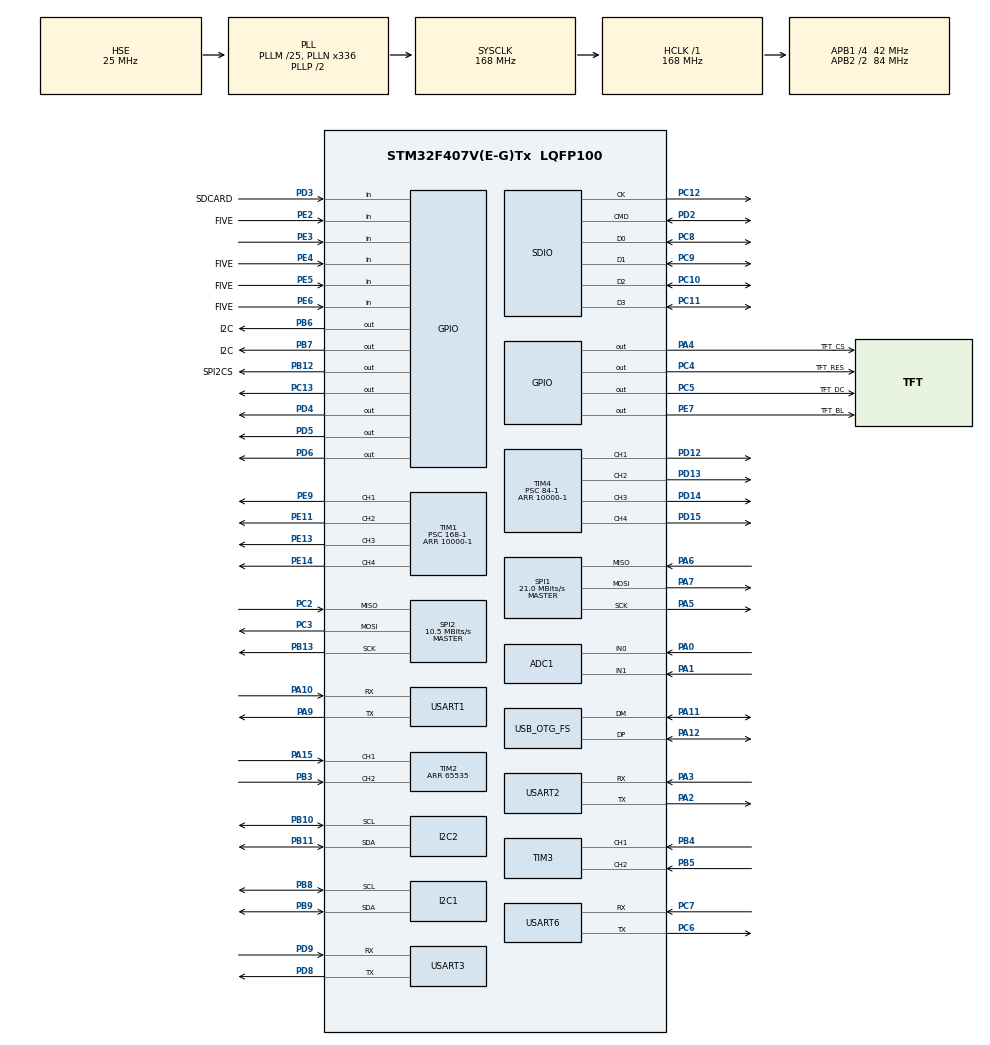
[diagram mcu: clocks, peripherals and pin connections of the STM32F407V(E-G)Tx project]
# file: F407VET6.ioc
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ADC1.Channel-0\#ChannelRegularConversion=ADC_CHANNEL_0
ADC1.NbrOfConversionFlag=1
ADC1.Rank-0\#ChannelRegularConversion=1
ADC1.SamplingTime-0\#ChannelRegularConversion=ADC_SAMPLETIME_3CYCLES
ADC1.master=1
Dma.I2C1_RX.2.Direction=DMA_PERIPH_TO_MEMORY
Dma.I2C1_RX.2.FIFOMode=DMA_FIFOMODE_DISABLE
Dma.I2C1_RX.2.Instance=DMA1_Stream0
Dma.I2C1_RX.2.MemDataAlignment=DMA_MDATAALIGN_BYTE
Dma.I2C1_RX.2.MemInc=DMA_MINC_ENABLE
Dma.I2C1_RX.2.Mode=DMA_NORMAL
Dma.I2C1_RX.2.PeriphDataAlignment=DMA_PDATAALIGN_BYTE
Dma.I2C1_RX.2.PeriphInc=DMA_PINC_DISABLE
Dma.I2C1_RX.2.Priority=DMA_PRIORITY_LOW
Dma.I2C1_TX.3.Direction=DMA_MEMORY_TO_PERIPH
Dma.I2C1_TX.3.FIFOMode=DMA_FIFOMODE_DISABLE
Dma.I2C1_TX.3.Instance=DMA1_Stream7
Dma.I2C1_TX.3.MemDataAlignment=DMA_MDATAALIGN_BYTE
Dma.I2C1_TX.3.MemInc=DMA_MINC_ENABLE
Dma.I2C1_TX.3.Mode=DMA_NORMAL
Dma.I2C1_TX.3.PeriphDataAlignment=DMA_PDATAALIGN_BYTE
Dma.I2C1_TX.3.PeriphInc=DMA_PINC_DISABLE
Dma.I2C1_TX.3.Priority=DMA_PRIORITY_LOW
Dma.Request0=USART2_RX
Dma.Request1=USART2_TX
Dma.Request2=I2C1_RX
Dma.Request3=I2C1_TX
Dma.USART2_RX.0.Direction=DMA_PERIPH_TO_MEMORY
Dma.USART2_RX.0.FIFOMode=DMA_FIFOMODE_DISABLE
Dma.USART2_RX.0.Instance=DMA1_Stream5
Dma.USART2_RX.0.MemDataAlignment=DMA_MDATAALIGN_BYTE
Dma.USART2_RX.0.MemInc=DMA_MINC_ENABLE
Dma.USART2_RX.0.Mode=DMA_NORMAL
Dma.USART2_RX.0.PeriphDataAlignment=DMA_PDATAALIGN_BYTE
Dma.USART2_RX.0.PeriphInc=DMA_PINC_DISABLE
Dma.USART2_RX.0.Priority=DMA_PRIORITY_LOW
Dma.USART2_TX.1.Direction=DMA_MEMORY_TO_PERIPH
Dma.USART2_TX.1.FIFOMode=DMA_FIFOMODE_DISABLE
Dma.USART2_TX.1.Instance=DMA1_Stream6
Dma.USART2_TX.1.MemDataAlignment=DMA_MDATAALIGN_BYTE
Dma.USART2_TX.1.MemInc=DMA_MINC_ENABLE
Dma.USART2_TX.1.Mode=DMA_NORMAL
Dma.USART2_TX.1.PeriphDataAlignment=DMA_PDATAALIGN_BYTE
Dma.USART2_TX.1.PeriphInc=DMA_PINC_DISABLE
Dma.USART2_TX.1.Priority=DMA_PRIORITY_LOW
Mcu.Family=STM32F4
Mcu.Name=STM32F407V(E-G)Tx
Mcu.Package=LQFP100
NVIC.DMA1_Stream0_IRQn=true\:0\:0\:false\:false\:true\:false\:true\:true
NVIC.DMA1_Stream5_IRQn=true\:0\:0\:false\:false\:true\:false\:true\:true
NVIC.DMA1_Stream6_IRQn=true\:0\:0\:false\:false\:true\:false\:true\:true
NVIC.DMA1_Stream7_IRQn=true\:0\:0\:false\:false\:true\:false\:true\:true
NVIC.PriorityGroup=NVIC_PRIORITYGROUP_4
NVIC.USART1_IRQn=true\:0\:0\:false\:false\:true\:true\:true\:true
NVIC.USART2_IRQn=true\:0\:0\:false\:false\:true\:true\:true\:true
NVIC.USART3_IRQn=true\:0\:0\:false\:false\:true\:true\:true\:true
NVIC.USART6_IRQn=true\:0\:0\:false\:false\:true\:true\:true\:true
PA0-WKUP.Signal=ADCx_IN0
PA1.Signal=ADCx_IN1
PA10.Mode=Asynchronous
PA10.Signal=USART1_RX
PA11.Mode=Host_Only
PA11.Signal=USB_OTG_FS_DM
PA12.Mode=Host_Only
PA12.Signal=USB_OTG_FS_DP
PA13.Mode=Serial_Wire
PA13.Signal=SYS_JTMS-SWDIO
PA14.Mode=Serial_Wire
PA14.Signal=SYS_JTCK-SWCLK
PA15.Signal=S_TIM2_CH1_ETR
PA2.Mode=Asynchronous
PA2.Signal=USART2_TX
PA3.Mode=Asynchronous
PA3.Signal=USART2_RX
PA4.GPIO_Label=TFT_CS
PA4.GPIO_ModeDefaultOutputPP=GPIO_MODE_OUTPUT_PP
PA4.GPIO_PuPd=GPIO_PULLUP
PA4.GPIO_Speed=GPIO_SPEED_FREQ_HIGH
PA4.PinState=GPIO_PIN_SET
PA4.Signal=GPIO_Output
PA5.Mode=Full_Duplex_Master
PA5.Signal=SPI1_SCK
PA6.Mode=Full_Duplex_Master
PA6.Signal=SPI1_MISO
PA7.Mode=Full_Duplex_Master
PA7.Signal=SPI1_MOSI
PA9.Mode=Asynchronous
PA9.Signal=USART1_TX
PB10.Mode=I2C
PB10.Signal=I2C2_SCL
PB11.Mode=I2C
PB11.Signal=I2C2_SDA
PB12.GPIO_Label=SPI2CS
PB12.Signal=GPIO_Output
PB13.Mode=Full_Duplex_Master
PB13.Signal=SPI2_SCK
PB3.Signal=S_TIM2_CH2
PB4.Signal=S_TIM3_CH1
PB5.Signal=S_TIM3_CH2
PB6.GPIO_Label=I2C
PB6.Signal=GPIO_Output
PB7.GPIO_Label=I2C
PB7.Signal=GPIO_Output
PB8.Mode=I2C
PB8.Signal=I2C1_SCL
PB9.Mode=I2C
PB9.Signal=I2C1_SDA
PC10.Mode=SD_4_bits_Wide_bus
PC10.Signal=SDIO_D2
PC11.Mode=SD_4_bits_Wide_bus
PC11.Signal=SDIO_D3
PC12.Mode=SD_4_bits_Wide_bus
PC12.Signal=SDIO_CK
PC13-ANTI_TAMP.Signal=GPIO_Output
PC2.Mode=Full_Duplex_Master
PC2.Signal=SPI2_MISO
PC3.Mode=Full_Duplex_Master
PC3.Signal=SPI2_MOSI
PC4.GPIO_Label=TFT_RES
PC4.GPIO_ModeDefaultOutputPP=GPIO_MODE_OUTPUT_PP
PC4.GPIO_PuPd=GPIO_PULLUP
PC4.GPIO_Speed=GPIO_SPEED_FREQ_HIGH
PC4.PinState=GPIO_PIN_SET
PC4.Signal=GPIO_Output
PC5.GPIO_Label=TFT_DC
PC5.GPIO_ModeDefaultOutputPP=GPIO_MODE_OUTPUT_PP
PC5.GPIO_PuPd=GPIO_PULLUP
PC5.GPIO_Speed=GPIO_SPEED_FREQ_HIGH
PC5.PinState=GPIO_PIN_SET
PC5.Signal=GPIO_Output
PC6.Mode=Asynchronous
PC6.Signal=USART6_TX
PC7.Mode=Asynchronous
PC7.Signal=USART6_RX
PC8.Mode=SD_4_bits_Wide_bus
PC8.Signal=SDIO_D0
PC9.Mode=SD_4_bits_Wide_bus
PC9.Signal=SDIO_D1
PD12.Signal=S_TIM4_CH1
PD13.Signal=S_TIM4_CH2
PD14.Signal=S_TIM4_CH3
PD15.Signal=S_TIM4_CH4
PD2.Mode=SD_4_bits_Wide_bus
PD2.Signal=SDIO_CMD
PD3.GPIO_Label=SDCARD
PD3.Signal=GPIO_Input
PD4.Signal=GPIO_Output
PD5.Signal=GPIO_Output
PD6.Signal=GPIO_Output
PD8.Mode=Asynchronous
PD8.Signal=USART3_TX
PD9.Mode=Asynchronous
PD9.Signal=USART3_RX
PE11.Signal=S_TIM1_CH2
PE13.Signal=S_TIM1_CH3
PE14.Signal=S_TIM1_CH4
PE2.GPIO_Label=FIVE
PE2.Signal=GPIO_Input
PE3.Signal=GPIO_Input
PE4.GPIO_Label=FIVE
PE4.Signal=GPIO_Input
PE5.GPIO_Label=FIVE
PE5.Signal=GPIO_Input
PE6.GPIO_Label=FIVE
PE6.Signal=GPIO_Input
PE7.GPIO_Label=TFT_BL
PE7.Signal=GPIO_Output
PE9.Signal=S_TIM1_CH1
PH0-OSC_IN.Mode=HSE-External-Oscillator
PH0-OSC_IN.Signal=RCC_OSC_IN
PH1-OSC_OUT.Mode=HSE-External-Oscillator
PH1-OSC_OUT.Signal=RCC_OSC_OUT
ProjectManager.HeapSize=0x200
ProjectManager.StackSize=0x400
ProjectManager.TargetToolchain=MDK-ARM V5.32
RCC.48MHZClocksFreq_Value=48000000
RCC.AHBFreq_Value=168000000
RCC.APB1CLKDivider=RCC_HCLK_DIV4
RCC.APB1Freq_Value=42000000
RCC.APB1TimFreq_Value=84000000
RCC.APB2CLKDivider=RCC_HCLK_DIV2
RCC.APB2Freq_Value=84000000
RCC.APB2TimFreq_Value=168000000
RCC.CortexFreq_Value=168000000
RCC.HCLKFreq_Value=168000000
RCC.HSE_VALUE=25000000
RCC.HSI_VALUE=16000000
RCC.LSE_VALUE=32768
RCC.PLLM=25
RCC.PLLN=336
RCC.PLLQ=7
RCC.SYSCLKFreq_VALUE=168000000
RCC.SYSCLKSource=RCC_SYSCLKSOURCE_PLLCLK
RCC.VCOOutputFreq_Value=336000000
SH.ADCx_IN0.0=ADC1_IN0,IN0
SH.ADCx_IN1.0=ADC1_IN1,IN1
SH.S_TIM1_CH1.0=TIM1_CH1,PWM Generation1 CH1
SH.S_TIM1_CH2.0=TIM1_CH2,PWM Generation2 CH2
SH.S_TIM1_CH3.0=TIM1_CH3,PWM Generation3 CH3
SH.S_TIM1_CH4.0=TIM1_CH4,PWM Generation4 CH4
SH.S_TIM2_CH1_ETR.0=TIM2_CH1,Encoder_Interface
SH.S_TIM2_CH2.0=TIM2_CH2,Encoder_Interface
SH.S_TIM3_CH1.0=TIM3_CH1,Encoder_Interface
SH.S_TIM3_CH2.0=TIM3_CH2,Encoder_Interface
SH.S_TIM4_CH1.0=TIM4_CH1,PWM Generation1 CH1
SH.S_TIM4_CH2.0=TIM4_CH2,PWM Generation2 CH2
SH.S_TIM4_CH3.0=TIM4_CH3,PWM Generation3 CH3
SH.S_TIM4_CH4.0=TIM4_CH4,PWM Generation4 CH4
SPI1.BaudRatePrescaler=SPI_BAUDRATEPRESCALER_4
SPI1.CalculateBaudRate=21.0 MBits/s
SPI1.Direction=SPI_DIRECTION_2LINES
SPI1.Mode=SPI_MODE_MASTER
SPI1.VirtualType=VM_MASTER
SPI2.BaudRatePrescaler=SPI_BAUDRATEPRESCALER_4
SPI2.CalculateBaudRate=10.5 MBits/s
SPI2.Direction=SPI_DIRECTION_2LINES
SPI2.Mode=SPI_MODE_MASTER
SPI2.VirtualType=VM_MASTER
TIM1.Channel-PWM\ Generation1\ CH1=TIM_CHANNEL_1
TIM1.Channel-PWM\ Generation2\ CH2=TIM_CHANNEL_2
TIM1.Channel-PWM\ Generation3\ CH3=TIM_CHANNEL_3
TIM1.Channel-PWM\ Generation4\ CH4=TIM_CHANNEL_4
TIM1.Period=10000-1
TIM1.Prescaler=168-1
TIM2.Period=65535
TIM4.Channel-PWM\ Generation1\ CH1=TIM_CHANNEL_1
TIM4.Channel-PWM\ Generation2\ CH2=TIM_CHANNEL_2
TIM4.Channel-PWM\ Generation3\ CH3=TIM_CHANNEL_3
TIM4.Channel-PWM\ Generation4\ CH4=TIM_CHANNEL_4
TIM4.Period=10000-1
TIM4.Prescaler=84-1
TIM5.Period=10000-1
TIM5.Prescaler=84-1
USART1.VirtualMode=VM_ASYNC
USART2.VirtualMode=VM_ASYNC
USART3.VirtualMode=VM_ASYNC
USART6.VirtualMode=VM_ASYNC
USB_OTG_FS.VirtualMode=Host_Only
USB_OTG_FS.phy_itface=HCD_PHY_EMBEDDED
VP_TIM1_VS_ClockSourceINT.Mode=Internal
VP_TIM5_VS_ClockSourceINT.Mode=Internal
board=custom

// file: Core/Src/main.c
/* USER CODE BEGIN Header */
/**
  ******************************************************************************
  * @file           : main.c
  * @brief          : Main program body
  ******************************************************************************
  * @attention
  *
  * Copyright (c) 2024 STMicroelectronics.
  * All rights reserved.
  *
  * This software is licensed under terms that can be found in the LICENSE file
  * in the root directory of this software component.
  * If no LICENSE file comes with this software, it is provided AS-IS.
  *
  ******************************************************************************
  */
/* USER CODE END Header */
#include "main.h"
#include "adc.h"
#include "dma.h"
#include "i2c.h"
#include "sdio.h"
#include "spi.h"
#include "tim.h"
#include "usart.h"
#include "usb_otg.h"
#include "gpio.h"

/* USER CODE BEGIN Includes */
#include "head_files.h"
/* USER CODE END Includes */

void SystemClock_Config(void);

int main(void)
{

  /* MCU Configuration--------------------------------------------------------*/

  /* Reset of all peripherals, Initializes the Flash interface and the Systick. */
  HAL_Init();

  /* Configure the system clock */
  SystemClock_Config();

  /* Initialize all configured peripherals */
  MX_GPIO_Init();
  MX_DMA_Init();
  MX_I2C1_Init();
  MX_I2C2_Init();
  MX_SPI1_Init();
  MX_USART1_UART_Init();
  MX_USART2_UART_Init();
  MX_TIM1_Init();
  MX_TIM2_Init();
  MX_TIM3_Init();
  MX_TIM4_Init();
  MX_TIM5_Init();
  MX_USART3_UART_Init();
  MX_USB_OTG_FS_HCD_Init();
  MX_SDIO_SD_Init();
  MX_SPI2_Init();
  MX_ADC1_Init();
  MX_USART6_UART_Init();
  /* USER CODE BEGIN 2 */

  HAL_TIM_Encoder_Start(&htim2, TIM_CHANNEL_ALL);
  HAL_TIM_Encoder_Start(&htim3, TIM_CHANNEL_ALL);
  __HAL_TIM_SET_COUNTER(&htim2, 15000);
  __HAL_TIM_SET_COUNTER(&htim3, 15000);

  HAL_TIM_PWM_Start(&htim1, TIM_CHANNEL_1);
  HAL_TIM_PWM_Start(&htim1, TIM_CHANNEL_2);
  HAL_TIM_PWM_Start(&htim1, TIM_CHANNEL_3);
  HAL_TIM_PWM_Start(&htim1, TIM_CHANNEL_4);

  LCD_Init();
  LCD_Fill(0, 0, LCD_W, LCD_H, WHITE);

  __HAL_TIM_SET_COMPARE(&htim1, TIM_CHANNEL_1,585);
  __HAL_TIM_SET_COMPARE(&htim1, TIM_CHANNEL_2,425);
  __HAL_TIM_SET_COMPARE(&htim1, TIM_CHANNEL_3,585);
  __HAL_TIM_SET_COMPARE(&htim1, TIM_CHANNEL_4,425);

	HAL_TIM_Base_Start_IT(&htim4);
  HAL_TIM_Base_Start_IT(&htim5);

  /* USER CODE END 2 */

  /* Infinite loop */
  while (1)
  {

    /* USER CODE BEGIN 3 */

//		LCD_ShowIntNum(0, 0, t, 3, RED, BLACK, 16);
//		LCD_ShowIntNum(0, 16, x_history[8], 3, RED, BLACK, 16);LCD_ShowIntNum(48, 16, y_history[8], 3, RED, BLACK, 16);

//			if( horizon_pid>0){LCD_ShowIntNum(0, 110, i-hor_out, 10, RED, BLACK, 16);}
//			if( horizon_pid<0){LCD_ShowIntNum(0, 110, -(i-hor_out), 10, RED, BLACK, 16);}
//
//			if( vertical_pid>0){LCD_ShowIntNum(48, 110, j+ver_out, 10, RED, BLACK, 16);}
//			if( vertical_pid<0){LCD_ShowIntNum(48, 110, -(j+ver_out), 10, RED, BLACK, 16);}
    HAL_GPIO_WritePin(GPIOD,GPIO_PIN_4,GPIO_PIN_RESET);
    HAL_GPIO_WritePin(GPIOD,GPIO_PIN_5,GPIO_PIN_RESET);
    HAL_GPIO_WritePin(GPIOD,GPIO_PIN_6,GPIO_PIN_RESET);
		// HAL_GPIO_TogglePin(GPIOD,GPIO_PIN_4);
    // HAL_GPIO_TogglePin(GPIOD,GPIO_PIN_5);
    // HAL_GPIO_TogglePin(GPIOD,GPIO_PIN_6);

  }
  /* USER CODE END 3 */
}

void SystemClock_Config(void)
{
  RCC_OscInitTypeDef RCC_OscInitStruct = {0};
  RCC_ClkInitTypeDef RCC_ClkInitStruct = {0};

  /** Configure the main internal regulator output voltage
  */
  __HAL_RCC_PWR_CLK_ENABLE();
  __HAL_PWR_VOLTAGESCALING_CONFIG(PWR_REGULATOR_VOLTAGE_SCALE1);

  /** Initializes the RCC Oscillators according to the specified parameters
  * in the RCC_OscInitTypeDef structure.
  */
  RCC_OscInitStruct.OscillatorType = RCC_OSCILLATORTYPE_HSE;
  RCC_OscInitStruct.HSEState = RCC_HSE_ON;
  RCC_OscInitStruct.PLL.PLLState = RCC_PLL_ON;
  RCC_OscInitStruct.PLL.PLLSource = RCC_PLLSOURCE_HSE;
  RCC_OscInitStruct.PLL.PLLM = 25;
  RCC_OscInitStruct.PLL.PLLN = 336;
  RCC_OscInitStruct.PLL.PLLP = RCC_PLLP_DIV2;
  RCC_OscInitStruct.PLL.PLLQ = 7;
  if (HAL_RCC_OscConfig(&RCC_OscInitStruct) != HAL_OK)
  {
    Error_Handler();
  }

  /** Initializes the CPU, AHB and APB buses clocks
  */
  RCC_ClkInitStruct.ClockType = RCC_CLOCKTYPE_HCLK|RCC_CLOCKTYPE_SYSCLK
                              |RCC_CLOCKTYPE_PCLK1|RCC_CLOCKTYPE_PCLK2;
  RCC_ClkInitStruct.SYSCLKSource = RCC_SYSCLKSOURCE_PLLCLK;
  RCC_ClkInitStruct.AHBCLKDivider = RCC_SYSCLK_DIV1;
  RCC_ClkInitStruct.APB1CLKDivider = RCC_HCLK_DIV4;
  RCC_ClkInitStruct.APB2CLKDivider = RCC_HCLK_DIV2;

  if (HAL_RCC_ClockConfig(&RCC_ClkInitStruct, FLASH_LATENCY_5) != HAL_OK)
  {
    Error_Handler();
  }
}

void Error_Handler(void)
{
  __disable_irq();
  while (1)
  {
  }
}
